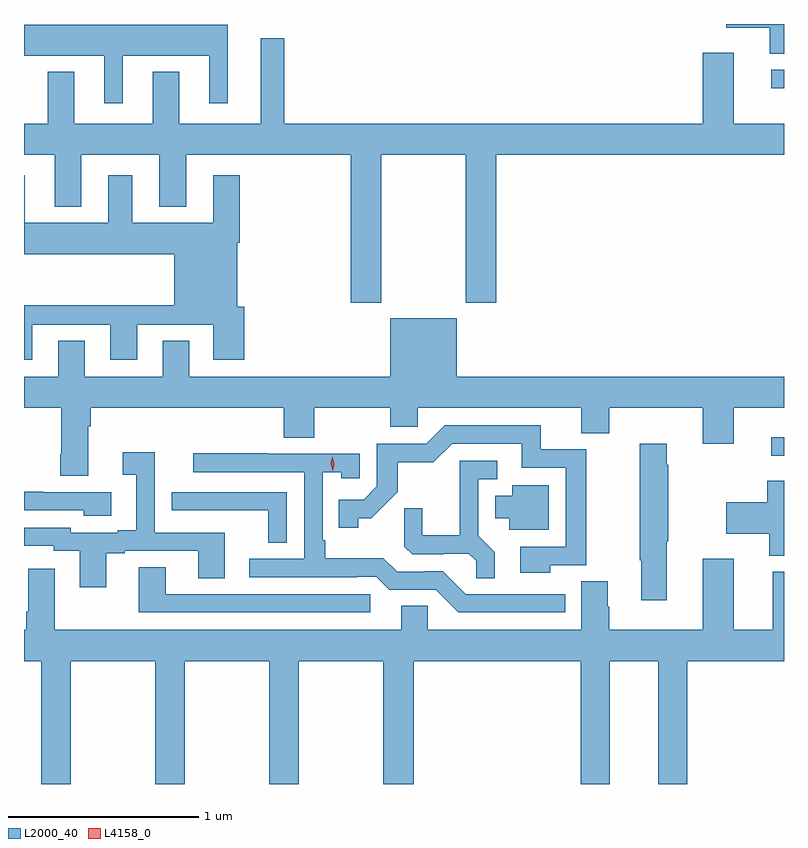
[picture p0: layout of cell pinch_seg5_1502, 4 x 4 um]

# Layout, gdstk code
import gdstk
lib = gdstk.Library(unit=1e-6, precision=1e-09)
def R(c, l, rs):  # rectangles x0, y0, x1, y1
    for r in rs: c.add(gdstk.rectangle(r[:2], r[2:], *l))
def P(c, l, *ps):  # polygons
    for p in ps: c.add(gdstk.Polygon(p, *l))
L2000_40 = (2000, 40)
L4158_0 = (4158, 0)

pinch_seg5_1502 = lib.new_cell('pinch_seg5_1502')
R(pinch_seg5_1502, L2000_40, [(333.201,867.164,333.268,867.262), (333.201,869.1,333.268,869.196)])
P(pinch_seg5_1502, L2000_40, [(333.268,869.437),(332.964,869.437),(332.964,869.417),(333.194,869.417),(333.194,869.281),(333.268,869.281)],
  [(329.788,869.27),(330.242,869.27),(330.242,869.019),(330.34,869.019),(330.34,869.434),(329.268,869.434),(329.268,869.27),(329.69,869.27),(329.69,869.019),(329.788,869.019)],
  [(331.149,868.748),(331.594,868.748),(331.594,867.969),(331.754,867.969),(331.754,868.748),(333.268,868.748),(333.268,868.912),(333.004,868.912),(333.004,869.287),(332.84,869.287),(332.84,868.912),(330.637,868.912),(330.637,869.362),(330.515,869.362),(330.515,868.912),(330.085,868.912),(330.085,869.185),(329.945,869.185),(329.945,868.912),(329.533,868.912),(329.533,869.185),(329.393,869.185),(329.393,868.912),(329.268,868.912),(329.268,868.748),(329.429,868.748),(329.429,868.475),(329.569,868.475),(329.569,868.748),(329.981,868.748),(329.981,868.475),(330.121,868.475),(330.121,868.748),(330.989,868.748),(330.989,867.969),(331.149,867.969)],
  [(329.311,867.855),(329.723,867.855),(329.723,867.669),(329.863,867.669),(329.863,867.855),(330.263,867.855),(330.263,867.669),(330.428,867.669),(330.428,867.948),(330.391,867.948),(330.391,868.286),(330.404,868.286),(330.404,868.642),(330.263,868.642),(330.263,868.39),(329.839,868.39),(329.839,868.642),(329.711,868.642),(329.711,868.39),(329.272,868.39),(329.272,868.642),(329.268,868.642),(329.268,868.226),(330.059,868.226),(330.059,867.956),(329.268,867.956),(329.268,867.669),(329.311,867.669)],
  [(329.605,867.32),(329.618,867.32),(329.618,867.416),(330.635,867.416),(330.635,867.259),(330.795,867.259),(330.795,867.416),(331.195,867.416),(331.195,867.318),(331.341,867.318),(331.341,867.416),(332.201,867.416),(332.201,867.283),(332.349,867.283),(332.349,867.416),(332.84,867.416),(332.84,867.228),(333.004,867.228),(333.004,867.416),(333.268,867.416),(333.268,867.58),(331.546,867.58),(331.546,867.889),(331.196,867.889),(331.196,867.58),(330.139,867.58),(330.139,867.77),(329.999,867.77),(329.999,867.58),(329.587,867.58),(329.587,867.77),(329.447,867.77),(329.447,867.58),(329.268,867.58),(329.268,867.416),(329.465,867.416),(329.465,867.172),(329.458,867.172),(329.458,867.06),(329.605,867.06)],
  [(332.037,866.589),(332.227,866.589),(332.227,867.198),(331.988,867.198),(331.988,867.324),(331.482,867.324),(331.386,867.228),(331.125,867.228),(331.125,867.003),(331.056,866.934),(330.925,866.934),(330.925,866.787),(331.026,866.787),(331.026,866.837),(331.096,866.837),(331.234,866.974),(331.234,867.13),(331.423,867.13),(331.521,867.228),(331.889,867.228),(331.889,867.102),(332.118,867.102),(332.118,866.685),(331.881,866.685),(331.881,866.549),(332.037,866.549)],
  [(332.65,866.715),(332.658,866.715),(332.658,867.116),(332.65,867.116),(332.65,867.229),(332.509,867.229),(332.509,866.615),(332.516,866.615),(332.516,866.403),(332.65,866.403)],
  [(329.701,866.652),(329.797,866.652),(329.797,866.664),(330.185,866.664),(330.185,866.521),(330.325,866.521),(330.325,866.76),(329.955,866.76),(329.955,867.184),(329.787,867.184),(329.787,867.064),(329.858,867.064),(329.858,866.773),(329.762,866.773),(329.762,866.76),(329.514,866.76),(329.514,866.787),(329.268,866.787),(329.268,866.691),(329.424,866.691),(329.424,866.664),(329.561,866.664),(329.561,866.472),(329.701,866.472)],
  [(332.116,866.436),(331.593,866.436),(331.473,866.556),(331.372,866.556),(331.372,866.553),(331.233,866.553),(331.16,866.626),(330.853,866.626),(330.853,866.719),(330.84,866.719),(330.84,867.077),(330.939,867.077),(330.939,867.045),(331.035,867.045),(331.035,867.174),(330.551,867.174),(330.551,867.177),(330.159,867.177),(330.159,867.078),(330.744,867.078),(330.744,866.622),(330.453,866.622),(330.453,866.526),(331.022,866.526),(331.022,866.529),(331.122,866.529),(331.191,866.46),(331.434,866.46),(331.554,866.34),(332.116,866.34)],
  [(331.745,866.657),(331.659,866.743),(331.659,867.042),(331.759,867.042),(331.759,867.138),(331.562,867.138),(331.562,866.746),(331.364,866.746),(331.364,866.889),(331.27,866.889),(331.27,866.687),(331.311,866.646),(331.476,866.646),(331.476,866.649),(331.61,866.649),(331.647,866.612),(331.647,866.521),(331.745,866.521)],
  [(333.268,867.034),(333.179,867.034),(333.179,866.919),(332.964,866.919),(332.964,866.753),(333.191,866.753),(333.191,866.638),(333.268,866.638)],
  [(332.029,867.01),(331.838,867.01),(331.838,866.953),(331.748,866.953),(331.748,866.837),(331.823,866.837),(331.823,866.774),(332.029,866.774)],
  [(329.728,866.973),(329.369,866.973),(329.369,866.976),(329.268,866.976),(329.268,866.877),(329.583,866.877),(329.583,866.849),(329.728,866.849)],
  [(330.651,866.973),(330.045,866.973),(330.045,866.878),(330.157,866.878),(330.157,866.877),(330.553,866.877),(330.553,866.707),(330.651,866.707)],
  [(329.514,866.084),(329.959,866.084),(329.959,865.437),(330.114,865.437),(330.114,866.084),(330.559,866.084),(330.559,865.437),(330.714,865.437),(330.714,866.084),(331.159,866.084),(331.159,865.437),(331.319,865.437),(331.319,866.084),(332.198,866.084),(332.198,865.437),(332.35,865.437),(332.35,866.084),(332.606,866.084),(332.606,865.437),(332.759,865.437),(332.759,866.084),(333.268,866.084),(333.268,866.553),(333.209,866.553),(333.209,866.248),(333.004,866.248),(333.004,866.623),(332.84,866.623),(332.84,866.248),(332.349,866.248),(332.349,866.37),(332.341,866.37),(332.341,866.504),(332.201,866.504),(332.201,866.248),(331.392,866.248),(331.392,866.375),(331.253,866.375),(331.253,866.248),(329.431,866.248),(329.431,866.569),(329.291,866.569),(329.291,866.344),(329.279,866.344),(329.279,866.248),(329.268,866.248),(329.268,866.084),(329.359,866.084),(329.359,865.437),(329.514,865.437)],
  [(331.09,866.436),(330.013,866.436),(330.013,866.579),(329.873,866.579),(329.873,866.34),(331.09,866.34)])
P(pinch_seg5_1502, L4158_0, [(330.894,867.087),(330.894,867.087),(330.882,867.122),(330.891,867.158),(330.891,867.159),(330.891,867.158),(330.902,867.123),(330.894,867.087)])

lib.write_gds('pinch_seg5_1502.gds')
